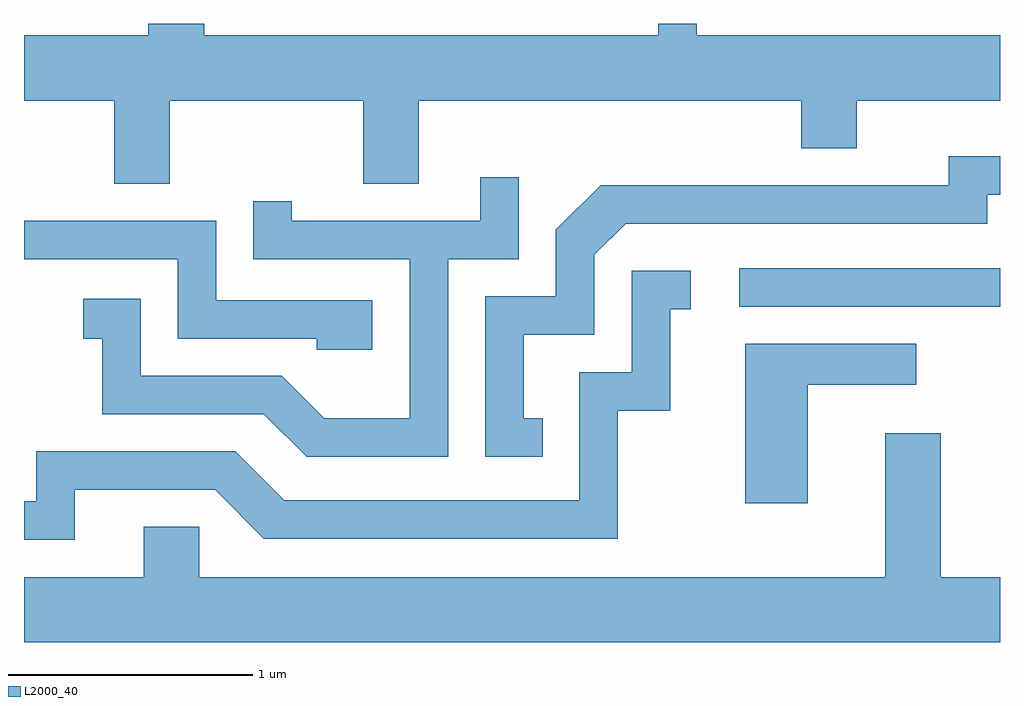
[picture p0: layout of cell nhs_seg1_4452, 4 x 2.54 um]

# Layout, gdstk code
import gdstk
lib = gdstk.Library(unit=1e-6, precision=1e-09)
def R(c, l, rs):  # rectangles x0, y0, x1, y1
    for r in rs: c.add(gdstk.rectangle(r[:2], r[2:], *l))
def P(c, l, *ps):  # polygons
    for p in ps: c.add(gdstk.Polygon(p, *l))
L2000_40 = (2000, 40)

nhs_seg1_4452 = lib.new_cell('nhs_seg1_4452')
R(nhs_seg1_4452, L2000_40, [(322.543,856.551,323.611,856.709)])
P(nhs_seg1_4452, L2000_40, [(320.209,857.396),(321.001,857.396),(321.001,857.056),(321.229,857.056),(321.229,857.396),(322.796,857.396),(322.796,857.201),(323.024,857.201),(323.024,857.396),(323.611,857.396),(323.611,857.664),(322.369,857.664),(322.369,857.712),(322.211,857.712),(322.211,857.664),(320.349,857.664),(320.349,857.712),(320.121,857.712),(320.121,857.664),(319.611,857.664),(319.611,857.396),(319.981,857.396),(319.981,857.056),(320.209,857.056)],
  [(321.738,856.094),(321.659,856.094),(321.659,856.436),(321.949,856.436),(321.949,856.764),(322.077,856.891),(323.559,856.891),(323.559,857.011),(323.611,857.011),(323.611,857.169),(323.401,857.169),(323.401,857.049),(321.974,857.049),(321.791,856.867),(321.791,856.594),(321.501,856.594),(321.501,855.936),(321.738,855.936)],
  [(321.349,856.746),(321.639,856.746),(321.639,857.083),(321.481,857.083),(321.481,856.904),(320.709,856.904),(320.709,856.983),(320.551,856.983),(320.551,856.746),(321.191,856.746),(321.191,856.094),(320.842,856.094),(320.667,856.269),(320.089,856.269),(320.089,856.584),(319.853,856.584),(319.853,856.421),(319.931,856.421),(319.931,856.111),(320.594,856.111),(320.769,855.936),(321.349,855.936)],
  [(321.039,856.579),(320.399,856.579),(320.399,856.904),(319.611,856.904),(319.611,856.746),(320.241,856.746),(320.241,856.421),(320.811,856.421),(320.811,856.376),(321.039,856.376)],
  [(319.819,855.801),(320.394,855.801),(320.594,855.601),(322.044,855.601),(322.044,856.126),(322.259,856.126),(322.259,856.541),(322.343,856.541),(322.343,856.699),(322.101,856.699),(322.101,856.284),(321.886,856.284),(321.886,855.759),(320.677,855.759),(320.477,855.959),(319.661,855.959),(319.661,855.754),(319.611,855.754),(319.611,855.596),(319.819,855.596)],
  [(322.824,856.231),(323.268,856.231),(323.268,856.399),(322.566,856.399),(322.566,855.746),(322.824,855.746)],
  [(323.611,855.444),(323.369,855.444),(323.369,856.034),(323.141,856.034),(323.141,855.444),(320.329,855.444),(320.329,855.649),(320.101,855.649),(320.101,855.444),(319.611,855.444),(319.611,855.176),(323.611,855.176)])

lib.write_gds('nhs_seg1_4452.gds')
